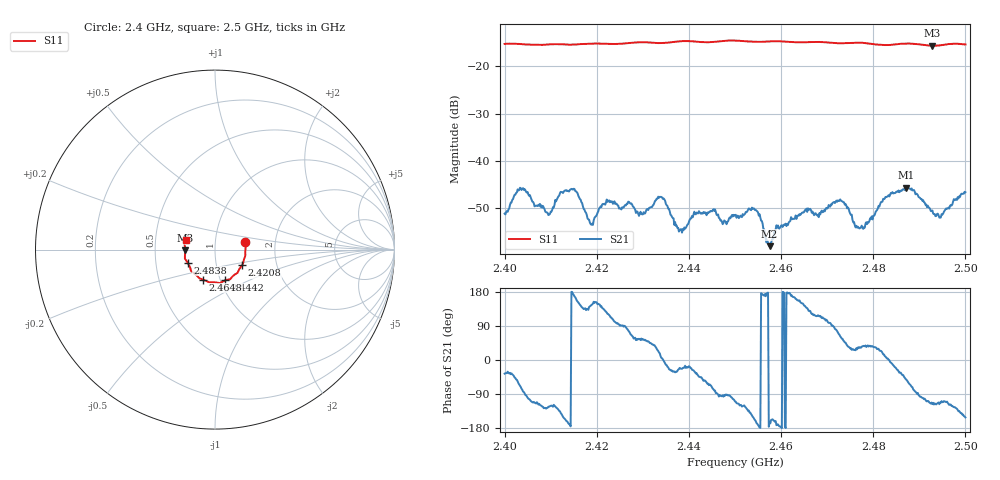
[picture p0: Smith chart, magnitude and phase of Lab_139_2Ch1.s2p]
# Hz S RI R 50
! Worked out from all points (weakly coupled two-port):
!   601 points, 2.4 GHz to 2.5 GHz, reference 50 ohm
!   highest |S21| = -45.62 dB at 2.4872 GHz (marker M1); lowest = -58.0 dB at 2.4575 GHz (marker M2)
!   lowest |S11| = -15.6 dB at 2.4928 GHz (marker M3), VSWR 1.40, Z = 35.8 - j0.367 ohm
!   |S11| at or under -10 dB: start of sweep to end of sweep
!   S12 and S22 are empty: the file has one direction only
!   S11 on the Smith chart (normalised r, x): 2.4 GHz: 1.40, +0.12; 2.4208 GHz: 1.33, -0.24; 2.4442 GHz: 1.05, -0.37; 2.4648 GHz: 0.83, -0.29; 2.4838 GHz: 0.73, -0.11; 2.5 GHz: 0.72, +0.08
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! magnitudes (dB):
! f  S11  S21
! 2.4 GHz  -15.2  -51.1
! 2.4038 GHz  -15.3  -45.8
! 2.4093 GHz  -15.4  -50.9
! 2.4128 GHz  -15.3  -46.4
! 2.4167 GHz  -15.3  -48.7
! 2.4187 GHz  -15.2  -53.3
! 2.4208 GHz  -15.2  -49.5
! 2.4333 GHz  -15.1  -47.5
! 2.4383 GHz  -14.7  -54.4
! 2.4442 GHz  -14.9  -51.0
! 2.45 GHz  -14.5  -51.4
! 2.4545 GHz  -14.8  -50.3
! 2.4575 GHz  -14.7  -58.0
! 2.4648 GHz  -14.9  -50.9
! 2.4667 GHz  -14.8  -50.9
! 2.4732 GHz  -15.1  -48.5
! 2.4777 GHz  -15.0  -54.1
! 2.4833 GHz  -15.5  -47.2
! 2.4838 GHz  -15.4  -46.7
! 2.4872 GHz  -15.1  -45.6
! 2.4928 GHz  -15.6  -50.4
! 2.5 GHz  -15.3  -46.6
